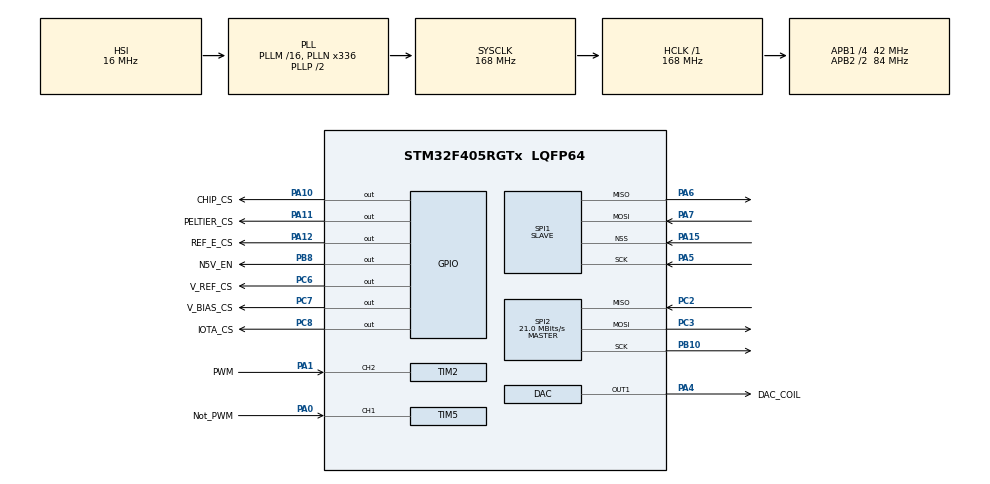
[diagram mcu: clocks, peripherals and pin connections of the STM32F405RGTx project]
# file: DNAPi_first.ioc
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Mcu.Family=STM32F4
Mcu.Name=STM32F405RGTx
Mcu.Package=LQFP64
NVIC.PriorityGroup=NVIC_PRIORITYGROUP_4
NVIC.SPI1_IRQn=true\:0\:0\:false\:false\:true\:true\:true
PA0-WKUP.GPIO_Label=Not_PWM
PA0-WKUP.Signal=S_TIM5_CH1
PA1.GPIO_Label=PWM
PA1.Signal=S_TIM2_CH2
PA10.GPIO_Label=CHIP_CS
PA10.PinState=GPIO_PIN_SET
PA10.Signal=GPIO_Output
PA11.GPIO_Label=PELTIER_CS
PA11.PinState=GPIO_PIN_SET
PA11.Signal=GPIO_Output
PA12.GPIO_Label=REF_E_CS
PA12.PinState=GPIO_PIN_SET
PA12.Signal=GPIO_Output
PA15.Mode=NSS_Signal_Hard_Input
PA15.Signal=SPI1_NSS
PA4.GPIO_Label=DAC_COIL
PA4.Signal=COMP_DAC1_group
PA5.Mode=Full_Duplex_Slave
PA5.Signal=SPI1_SCK
PA6.Mode=Full_Duplex_Slave
PA6.Signal=SPI1_MISO
PA7.Mode=Full_Duplex_Slave
PA7.Signal=SPI1_MOSI
PB10.Mode=Full_Duplex_Master
PB10.Signal=SPI2_SCK
PB8.GPIO_Label=N5V_EN
PB8.Signal=GPIO_Output
PC2.Mode=Full_Duplex_Master
PC2.Signal=SPI2_MISO
PC3.Mode=Full_Duplex_Master
PC3.Signal=SPI2_MOSI
PC6.GPIO_Label=V_REF_CS
PC6.PinState=GPIO_PIN_SET
PC6.Signal=GPIO_Output
PC7.GPIO_Label=V_BIAS_CS
PC7.PinState=GPIO_PIN_SET
PC7.Signal=GPIO_Output
PC8.GPIO_Label=IOTA_CS
PC8.PinState=GPIO_PIN_SET
PC8.Signal=GPIO_Output
ProjectManager.HeapSize=0x200
ProjectManager.StackSize=0x400
ProjectManager.TargetToolchain=MDK-ARM V5
RCC.48MHZClocksFreq_Value=84000000
RCC.AHBFreq_Value=168000000
RCC.APB1CLKDivider=RCC_HCLK_DIV4
RCC.APB1Freq_Value=42000000
RCC.APB1TimFreq_Value=84000000
RCC.APB2CLKDivider=RCC_HCLK_DIV2
RCC.APB2Freq_Value=84000000
RCC.APB2TimFreq_Value=168000000
RCC.CortexFreq_Value=168000000
RCC.HCLKFreq_Value=168000000
RCC.HSE_VALUE=25000000
RCC.HSI_VALUE=16000000
RCC.LSE_VALUE=32768
RCC.PLLN=336
RCC.SYSCLKFreq_VALUE=168000000
RCC.SYSCLKSource=RCC_SYSCLKSOURCE_PLLCLK
RCC.VCOOutputFreq_Value=336000000
SH.COMP_DAC1_group.0=DAC_OUT1,DAC_OUT1
SH.S_TIM2_CH2.0=TIM2_CH2,PWM_Input_2
SH.S_TIM5_CH1.0=TIM5_CH1,PWM_Input_1
SPI1.Direction=SPI_DIRECTION_2LINES
SPI1.Mode=SPI_MODE_SLAVE
SPI1.VirtualNSS=VM_NSSHARD
SPI1.VirtualType=VM_SLAVE
SPI2.BaudRatePrescaler=SPI_BAUDRATEPRESCALER_2
SPI2.CLKPhase=SPI_PHASE_2EDGE
SPI2.CalculateBaudRate=21.0 MBits/s
SPI2.Direction=SPI_DIRECTION_2LINES
SPI2.Mode=SPI_MODE_MASTER
SPI2.VirtualType=VM_MASTER
board=custom

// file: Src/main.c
/* USER CODE BEGIN Header */
/**
  ******************************************************************************
  * @file           : main.c
  * @brief          : Main program body
  ******************************************************************************
  * @attention
  *
  * <h2><center>&copy; Copyright (c) 2019 STMicroelectronics.
  * All rights reserved.</center></h2>
  *
  * This software component is licensed by ST under BSD 3-Clause license,
  * the "License"; You may not use this file except in compliance with the
  * License. You may obtain a copy of the License at:
  *                        opensource.org/licenses/BSD-3-Clause
  *
  ******************************************************************************
  */
/* USER CODE END Header */

#include "main.h"

#define DAC_VREF 	0x00
#define DAC_VBIAS 0x01
#define DAC_IOTA 	0x02

DAC_HandleTypeDef hdac;

SPI_HandleTypeDef hspi1;
SPI_HandleTypeDef hspi2;

TIM_HandleTypeDef htim2;
TIM_HandleTypeDef htim5;

/* USER CODE BEGIN PV */
uint16_t buf[2];
uint16_t tx[2] = {0x00AB, 0x00CD};
int counter=0;
uint16_t data_to_send;
volatile int spi_int_counter = 0;
volatile int ctrl = 0;

/* USER CODE END PV */

void SystemClock_Config(void);
static void MX_GPIO_Init(void);
static void MX_SPI1_Init(void);
static void MX_SPI2_Init(void);
static void MX_TIM2_Init(void);
static void MX_TIM5_Init(void);
static void MX_DAC_Init(void);
uint16_t voltage_to_dac(float voltage, float max, float min);
uint16_t dac_to_binary(uint16_t dac_value);
void setup_DAC(float voltage, char DAC_Select);

int main(void)
{

  /* MCU Configuration--------------------------------------------------------*/

  /* Reset of all peripherals, Initializes the Flash interface and the Systick. */
  HAL_Init();

  /* Configure the system clock */
  SystemClock_Config();

  /* Initialize all configured peripherals */
  MX_GPIO_Init();
  MX_SPI1_Init();
  MX_SPI2_Init();
  MX_TIM2_Init();
  MX_TIM5_Init();
  MX_DAC_Init();
  /* USER CODE BEGIN 2 */

	//data_to_send = 0x04D9;
	data_to_send = 0x0000;
	HAL_GPIO_WritePin(GPIOC, V_REF_CS_Pin, GPIO_PIN_RESET);
	HAL_SPI_Transmit(&hspi2, (uint8_t*)&data_to_send, 2, 256);
	HAL_GPIO_WritePin(GPIOC, V_REF_CS_Pin, GPIO_PIN_SET);

	//data_to_send = 0x09B2;
	data_to_send = 0x0000;
	HAL_GPIO_WritePin(GPIOC, V_BIAS_CS_Pin, GPIO_PIN_RESET);
	HAL_SPI_Transmit(&hspi2, (uint8_t*)&data_to_send, 2, 256);
	HAL_GPIO_WritePin(GPIOC, V_BIAS_CS_Pin, GPIO_PIN_SET);

	//data_to_send = 0x0E8B;
	data_to_send = 0x0000;
	HAL_GPIO_WritePin(GPIOC, IOTA_CS_Pin, GPIO_PIN_RESET);
	HAL_SPI_Transmit(&hspi2, (uint8_t*)&data_to_send, 2, 256);
	HAL_GPIO_WritePin(GPIOC, IOTA_CS_Pin, GPIO_PIN_SET);

  /* USER CODE END 2 */

  /* Infinite loop */
  /* USER CODE BEGIN WHILE */
  while (1)
  {

		//HAL_SPI_TransmitReceive_IT(&hspi1, (uint8_t *)tx, (uint8_t*)buf, 4);
		//tx[0] = buf[0];
		//tx[1] = buf[1];
		for(int i = 0; i<33; i++){
		setup_DAC(0.1*i,DAC_VREF);
		setup_DAC(0.1*i,DAC_VBIAS);
		setup_DAC(0.1*i,DAC_IOTA);
		HAL_Delay(10);
		}

		/* USER CODE END WHILE */
		//HAL_GPIO_WritePin(GPIOC, V_REF_CS_Pin, GPIO_PIN_RESET);
		//HAL_SPI_Transmit(&hspi2, (uint8_t*)0x3FF, 2, 256);
		//HAL_Delay(100);
		//for (int i = 1; i<1000; i++) HAL_SPI_Transmit(&hspi2, (uint8_t*)0x3FF, 2, 256);
		//HAL_GPIO_WritePin(GPIOC, V_REF_CS_Pin, GPIO_PIN_SET);
		//HAL_Delay(100);
		//counter ++;

		//	HAL_SPI_TransmitReceive_IT(&hspi1, (uint8_t *)0xF0F0F0F0, (uint8_t*)buf, 4);
  }
}

uint16_t voltage_to_dac(float voltage, float max, float min)
{
	uint16_t dac_value = 0;
	if (voltage > max)
	{
		dac_value = 0xFFF;
	}else if (voltage < min)
	{
		dac_value = 0;
	}else
	{
		dac_value = (int)((4095/max)*voltage);
	}
	return dac_value;
}

uint16_t dac_to_binary(uint16_t dac_value)
{
	dac_value = (dac_value & 0x0FFF)<<2;
	dac_value = (((dac_value & 0xFF)<<8) + (dac_value >> 8));
	return dac_value;
}

void setup_DAC(float voltage, char DAC_Select)
{

	uint16_t dac_value = voltage_to_dac(voltage, 3.24, 0);

	data_to_send = dac_to_binary(dac_value);

	switch(DAC_Select){
		case DAC_VREF:
			HAL_GPIO_WritePin(GPIOC, V_REF_CS_Pin, GPIO_PIN_RESET);
			HAL_SPI_Transmit(&hspi2, (uint8_t*)&data_to_send, 2, 256);
			HAL_GPIO_WritePin(GPIOC, V_REF_CS_Pin, GPIO_PIN_SET);
			break;

		case DAC_VBIAS:
			HAL_GPIO_WritePin(GPIOC, V_BIAS_CS_Pin, GPIO_PIN_RESET);
			HAL_SPI_Transmit(&hspi2, (uint8_t*)&data_to_send, 2, 256);
			HAL_GPIO_WritePin(GPIOC, V_BIAS_CS_Pin, GPIO_PIN_SET);
			break;

		case DAC_IOTA:
			HAL_GPIO_WritePin(GPIOC, IOTA_CS_Pin, GPIO_PIN_RESET);
			HAL_SPI_Transmit(&hspi2, (uint8_t*)&data_to_send, 2, 256);
			HAL_GPIO_WritePin(GPIOC, IOTA_CS_Pin, GPIO_PIN_SET);
			break;
	}
}

void HAL_SPI_TxRxCpltCallback(SPI_HandleTypeDef *hspi)
{
	spi_int_counter++;
	uint16_t DAC_val;

	DAC_val = (buf[0] & 0x0FFF)<<2;
	data_to_send = (((DAC_val & 0xFF)<<8) + (DAC_val >> 8));

	if (buf[1] & 1)
	{
		ctrl = 1;
		HAL_GPIO_WritePin(GPIOC, V_REF_CS_Pin, GPIO_PIN_RESET);
		HAL_SPI_Transmit(&hspi2, (uint8_t*)&data_to_send, 2, 256);
		HAL_GPIO_WritePin(GPIOC, V_REF_CS_Pin, GPIO_PIN_SET);

	}else if (buf[1] & 2)
	{
		ctrl = 2;
		HAL_GPIO_WritePin(GPIOC, V_BIAS_CS_Pin, GPIO_PIN_RESET);
		HAL_SPI_Transmit(&hspi2, (uint8_t*)&data_to_send, 2, 256);
		HAL_GPIO_WritePin(GPIOC, V_BIAS_CS_Pin, GPIO_PIN_SET);
	}else if (buf[1] & 4)
	{
		ctrl = 3;
		HAL_GPIO_WritePin(GPIOC, IOTA_CS_Pin, GPIO_PIN_RESET);
	  HAL_SPI_Transmit(&hspi2, (uint8_t*)&data_to_send, 2, 256);
		HAL_GPIO_WritePin(GPIOC, IOTA_CS_Pin, GPIO_PIN_SET);
	}

}

void SystemClock_Config(void)
{
  RCC_OscInitTypeDef RCC_OscInitStruct = {0};
  RCC_ClkInitTypeDef RCC_ClkInitStruct = {0};

  /** Configure the main internal regulator output voltage
  */
  __HAL_RCC_PWR_CLK_ENABLE();
  __HAL_PWR_VOLTAGESCALING_CONFIG(PWR_REGULATOR_VOLTAGE_SCALE1);
  /** Initializes the CPU, AHB and APB busses clocks
  */
  RCC_OscInitStruct.OscillatorType = RCC_OSCILLATORTYPE_HSI;
  RCC_OscInitStruct.HSIState = RCC_HSI_ON;
  RCC_OscInitStruct.HSICalibrationValue = RCC_HSICALIBRATION_DEFAULT;
  RCC_OscInitStruct.PLL.PLLState = RCC_PLL_ON;
  RCC_OscInitStruct.PLL.PLLSource = RCC_PLLSOURCE_HSI;
  RCC_OscInitStruct.PLL.PLLM = 16;
  RCC_OscInitStruct.PLL.PLLN = 336;
  RCC_OscInitStruct.PLL.PLLP = RCC_PLLP_DIV2;
  RCC_OscInitStruct.PLL.PLLQ = 4;
  if (HAL_RCC_OscConfig(&RCC_OscInitStruct) != HAL_OK)
  {
    Error_Handler();
  }
  /** Initializes the CPU, AHB and APB busses clocks
  */
  RCC_ClkInitStruct.ClockType = RCC_CLOCKTYPE_HCLK|RCC_CLOCKTYPE_SYSCLK
                              |RCC_CLOCKTYPE_PCLK1|RCC_CLOCKTYPE_PCLK2;
  RCC_ClkInitStruct.SYSCLKSource = RCC_SYSCLKSOURCE_PLLCLK;
  RCC_ClkInitStruct.AHBCLKDivider = RCC_SYSCLK_DIV1;
  RCC_ClkInitStruct.APB1CLKDivider = RCC_HCLK_DIV4;
  RCC_ClkInitStruct.APB2CLKDivider = RCC_HCLK_DIV2;

  if (HAL_RCC_ClockConfig(&RCC_ClkInitStruct, FLASH_LATENCY_5) != HAL_OK)
  {
    Error_Handler();
  }
}

static void MX_DAC_Init(void)
{

  DAC_ChannelConfTypeDef sConfig = {0};

  /** DAC Initialization
  */
  hdac.Instance = DAC;
  if (HAL_DAC_Init(&hdac) != HAL_OK)
  {
    Error_Handler();
  }
  /** DAC channel OUT1 config
  */
  sConfig.DAC_Trigger = DAC_TRIGGER_NONE;
  sConfig.DAC_OutputBuffer = DAC_OUTPUTBUFFER_ENABLE;
  if (HAL_DAC_ConfigChannel(&hdac, &sConfig, DAC_CHANNEL_1) != HAL_OK)
  {
    Error_Handler();
  }

}

static void MX_SPI1_Init(void)
{

  /* SPI1 parameter configuration*/
  hspi1.Instance = SPI1;
  hspi1.Init.Mode = SPI_MODE_SLAVE;
  hspi1.Init.Direction = SPI_DIRECTION_2LINES;
  hspi1.Init.DataSize = SPI_DATASIZE_8BIT;
  hspi1.Init.CLKPolarity = SPI_POLARITY_LOW;
  hspi1.Init.CLKPhase = SPI_PHASE_1EDGE;
  hspi1.Init.NSS = SPI_NSS_HARD_INPUT;
  hspi1.Init.FirstBit = SPI_FIRSTBIT_MSB;
  hspi1.Init.TIMode = SPI_TIMODE_DISABLE;
  hspi1.Init.CRCCalculation = SPI_CRCCALCULATION_DISABLE;
  hspi1.Init.CRCPolynomial = 10;
  if (HAL_SPI_Init(&hspi1) != HAL_OK)
  {
    Error_Handler();
  }

}

static void MX_SPI2_Init(void)
{

  /* SPI2 parameter configuration*/
  hspi2.Instance = SPI2;
  hspi2.Init.Mode = SPI_MODE_MASTER;
  hspi2.Init.Direction = SPI_DIRECTION_2LINES;
  hspi2.Init.DataSize = SPI_DATASIZE_8BIT;
  hspi2.Init.CLKPolarity = SPI_POLARITY_LOW;
  hspi2.Init.CLKPhase = SPI_PHASE_2EDGE;
  hspi2.Init.NSS = SPI_NSS_SOFT;
  hspi2.Init.BaudRatePrescaler = SPI_BAUDRATEPRESCALER_32;
  hspi2.Init.FirstBit = SPI_FIRSTBIT_MSB;
  hspi2.Init.TIMode = SPI_TIMODE_DISABLE;
  hspi2.Init.CRCCalculation = SPI_CRCCALCULATION_DISABLE;
  hspi2.Init.CRCPolynomial = 10;
  if (HAL_SPI_Init(&hspi2) != HAL_OK)
  {
    Error_Handler();
  }

}

static void MX_TIM2_Init(void)
{

  TIM_SlaveConfigTypeDef sSlaveConfig = {0};
  TIM_IC_InitTypeDef sConfigIC = {0};
  TIM_MasterConfigTypeDef sMasterConfig = {0};

  htim2.Instance = TIM2;
  htim2.Init.Prescaler = 0;
  htim2.Init.CounterMode = TIM_COUNTERMODE_UP;
  htim2.Init.Period = 0;
  htim2.Init.ClockDivision = TIM_CLOCKDIVISION_DIV1;
  htim2.Init.AutoReloadPreload = TIM_AUTORELOAD_PRELOAD_DISABLE;
  if (HAL_TIM_IC_Init(&htim2) != HAL_OK)
  {
    Error_Handler();
  }
  sSlaveConfig.SlaveMode = TIM_SLAVEMODE_RESET;
  sSlaveConfig.InputTrigger = TIM_TS_TI2FP2;
  sSlaveConfig.TriggerPolarity = TIM_INPUTCHANNELPOLARITY_FALLING;
  sSlaveConfig.TriggerPrescaler = TIM_ICPSC_DIV1;
  sSlaveConfig.TriggerFilter = 0;
  if (HAL_TIM_SlaveConfigSynchro(&htim2, &sSlaveConfig) != HAL_OK)
  {
    Error_Handler();
  }
  sConfigIC.ICPolarity = TIM_INPUTCHANNELPOLARITY_RISING;
  sConfigIC.ICSelection = TIM_ICSELECTION_INDIRECTTI;
  sConfigIC.ICPrescaler = TIM_ICPSC_DIV1;
  sConfigIC.ICFilter = 0;
  if (HAL_TIM_IC_ConfigChannel(&htim2, &sConfigIC, TIM_CHANNEL_1) != HAL_OK)
  {
    Error_Handler();
  }
  sConfigIC.ICPolarity = TIM_INPUTCHANNELPOLARITY_FALLING;
  sConfigIC.ICSelection = TIM_ICSELECTION_DIRECTTI;
  if (HAL_TIM_IC_ConfigChannel(&htim2, &sConfigIC, TIM_CHANNEL_2) != HAL_OK)
  {
    Error_Handler();
  }
  sMasterConfig.MasterOutputTrigger = TIM_TRGO_RESET;
  sMasterConfig.MasterSlaveMode = TIM_MASTERSLAVEMODE_DISABLE;
  if (HAL_TIMEx_MasterConfigSynchronization(&htim2, &sMasterConfig) != HAL_OK)
  {
    Error_Handler();
  }

}

static void MX_TIM5_Init(void)
{

  TIM_SlaveConfigTypeDef sSlaveConfig = {0};
  TIM_IC_InitTypeDef sConfigIC = {0};
  TIM_MasterConfigTypeDef sMasterConfig = {0};

  htim5.Instance = TIM5;
  htim5.Init.Prescaler = 0;
  htim5.Init.CounterMode = TIM_COUNTERMODE_UP;
  htim5.Init.Period = 0;
  htim5.Init.ClockDivision = TIM_CLOCKDIVISION_DIV1;
  htim5.Init.AutoReloadPreload = TIM_AUTORELOAD_PRELOAD_DISABLE;
  if (HAL_TIM_IC_Init(&htim5) != HAL_OK)
  {
    Error_Handler();
  }
  sSlaveConfig.SlaveMode = TIM_SLAVEMODE_RESET;
  sSlaveConfig.InputTrigger = TIM_TS_TI1FP1;
  sSlaveConfig.TriggerPolarity = TIM_INPUTCHANNELPOLARITY_RISING;
  sSlaveConfig.TriggerPrescaler = TIM_ICPSC_DIV1;
  sSlaveConfig.TriggerFilter = 0;
  if (HAL_TIM_SlaveConfigSynchro(&htim5, &sSlaveConfig) != HAL_OK)
  {
    Error_Handler();
  }
  sConfigIC.ICPolarity = TIM_INPUTCHANNELPOLARITY_RISING;
  sConfigIC.ICSelection = TIM_ICSELECTION_DIRECTTI;
  sConfigIC.ICPrescaler = TIM_ICPSC_DIV1;
  sConfigIC.ICFilter = 0;
  if (HAL_TIM_IC_ConfigChannel(&htim5, &sConfigIC, TIM_CHANNEL_1) != HAL_OK)
  {
    Error_Handler();
  }
  sConfigIC.ICPolarity = TIM_INPUTCHANNELPOLARITY_FALLING;
  sConfigIC.ICSelection = TIM_ICSELECTION_INDIRECTTI;
  if (HAL_TIM_IC_ConfigChannel(&htim5, &sConfigIC, TIM_CHANNEL_2) != HAL_OK)
  {
    Error_Handler();
  }
  sMasterConfig.MasterOutputTrigger = TIM_TRGO_RESET;
  sMasterConfig.MasterSlaveMode = TIM_MASTERSLAVEMODE_DISABLE;
  if (HAL_TIMEx_MasterConfigSynchronization(&htim5, &sMasterConfig) != HAL_OK)
  {
    Error_Handler();
  }

}

static void MX_GPIO_Init(void)
{
  GPIO_InitTypeDef GPIO_InitStruct = {0};

  /* GPIO Ports Clock Enable */
  __HAL_RCC_GPIOC_CLK_ENABLE();
  __HAL_RCC_GPIOA_CLK_ENABLE();
  __HAL_RCC_GPIOB_CLK_ENABLE();

  /*Configure GPIO pin Output Level */
  HAL_GPIO_WritePin(GPIOC, V_REF_CS_Pin|V_BIAS_CS_Pin|IOTA_CS_Pin, GPIO_PIN_SET);

  /*Configure GPIO pin Output Level */
  HAL_GPIO_WritePin(GPIOA, CHIP_CS_Pin|PELTIER_CS_Pin|REF_E_CS_Pin, GPIO_PIN_SET);

  /*Configure GPIO pin Output Level */
  HAL_GPIO_WritePin(N5V_EN_GPIO_Port, N5V_EN_Pin, GPIO_PIN_RESET);

  /*Configure GPIO pins : V_REF_CS_Pin V_BIAS_CS_Pin IOTA_CS_Pin */
  GPIO_InitStruct.Pin = V_REF_CS_Pin|V_BIAS_CS_Pin|IOTA_CS_Pin;
  GPIO_InitStruct.Mode = GPIO_MODE_OUTPUT_PP;
  GPIO_InitStruct.Pull = GPIO_NOPULL;
  GPIO_InitStruct.Speed = GPIO_SPEED_FREQ_HIGH;
  HAL_GPIO_Init(GPIOC, &GPIO_InitStruct);

  /*Configure GPIO pins : CHIP_CS_Pin PELTIER_CS_Pin REF_E_CS_Pin */
  GPIO_InitStruct.Pin = CHIP_CS_Pin|PELTIER_CS_Pin|REF_E_CS_Pin;
  GPIO_InitStruct.Mode = GPIO_MODE_OUTPUT_PP;
  GPIO_InitStruct.Pull = GPIO_NOPULL;
  GPIO_InitStruct.Speed = GPIO_SPEED_FREQ_HIGH;
  HAL_GPIO_Init(GPIOA, &GPIO_InitStruct);

  /*Configure GPIO pin : N5V_EN_Pin */
  GPIO_InitStruct.Pin = N5V_EN_Pin;
  GPIO_InitStruct.Mode = GPIO_MODE_OUTPUT_PP;
  GPIO_InitStruct.Pull = GPIO_NOPULL;
  GPIO_InitStruct.Speed = GPIO_SPEED_FREQ_HIGH;
  HAL_GPIO_Init(N5V_EN_GPIO_Port, &GPIO_InitStruct);

}

void Error_Handler(void)
{
}

/************************ (C) COPYRIGHT STMicroelectronics *****END OF FILE****/
